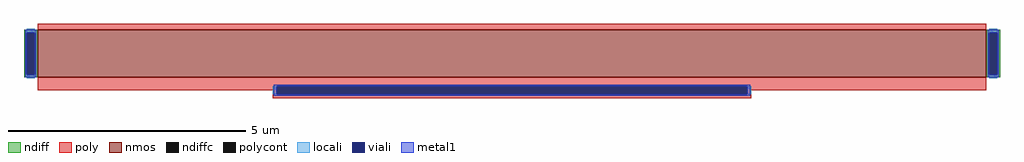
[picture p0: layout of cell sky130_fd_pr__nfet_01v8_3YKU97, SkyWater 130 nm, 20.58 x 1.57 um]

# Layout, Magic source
magic
tech sky130A
magscale 1 2
<< nmos >>
rect -2000 -69 2000 131
<< ndiff >>
rect -2058 119 -2000 131
rect -2058 -57 -2046 119
rect -2012 -57 -2000 119
rect -2058 -69 -2000 -57
rect 2000 119 2058 131
rect 2000 -57 2012 119
rect 2046 -57 2058 119
rect 2000 -69 2058 -57
<< ndiffc >>
rect -2046 -57 -2012 119
rect 2012 -57 2046 119
<< poly >>
rect -2000 131 2000 157
rect -2000 -107 2000 -69
rect -2000 -124 -992 -107
rect -1008 -141 -992 -124
rect 992 -124 2000 -107
rect 992 -141 1008 -124
rect -1008 -157 1008 -141
<< polycont >>
rect -992 -141 992 -107
<< locali >>
rect -2046 119 -2012 135
rect -2046 -73 -2012 -57
rect 2012 119 2046 135
rect 2012 -73 2046 -57
rect -1008 -141 -992 -107
rect 992 -141 1008 -107
<< viali >>
rect -2046 -57 -2012 119
rect 2012 -57 2046 119
rect -992 -141 992 -107
<< metal1 >>
rect -2052 119 -2006 131
rect -2052 -57 -2046 119
rect -2012 -57 -2006 119
rect -2052 -69 -2006 -57
rect 2006 119 2052 131
rect 2006 -57 2012 119
rect 2046 -57 2052 119
rect 2006 -69 2052 -57
rect -1004 -107 1004 -101
rect -1004 -141 -992 -107
rect 992 -141 1004 -107
rect -1004 -147 1004 -141
<< properties >>
string gencell sky130_fd_pr__nfet_01v8
string library sky130
string parameters w 1 l 20 m 1 nf 1 diffcov 100 polycov 50 guard 0 glc 1 grc 1 gtc 1 gbc 1 tbcov 100 rlcov 100 topc 0 botc 1 poverlap 0 doverlap 0 lmin 0.15 wmin 0.42 compatible {sky130_fd_pr__nfet_01v8 sky130_fd_pr__nfet_01v8_lvt  sky130_fd_bs_flash__special_sonosfet_star  sky130_fd_pr__nfet_g5v0d10v5 sky130_fd_pr__nfet_05v0_nvt  sky130_fd_pr__nfet_03v3_nvt} full_metal 1 viasrc 100 viadrn 100 viagate 50 viagb 0 viagr 0 viagl 0 viagt 0
<< end >>
